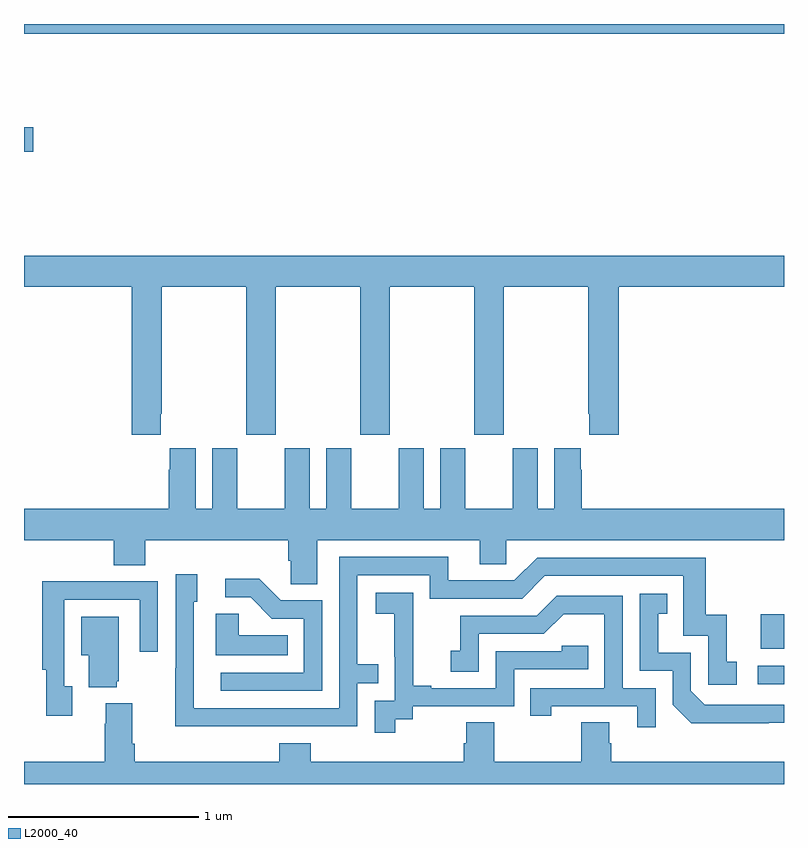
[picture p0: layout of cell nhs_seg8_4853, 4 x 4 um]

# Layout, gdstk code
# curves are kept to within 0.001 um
import gdstk
lib = gdstk.Library(unit=1e-6, precision=1e-09)
def R(c, l, rs):  # rectangles x0, y0, x1, y1
    for r in rs: c.add(gdstk.rectangle(r[:2], r[2:], *l))
def P(c, l, *ps):  # polygons
    for p in ps: c.add(gdstk.Polygon(p, *l))
L2000_40 = (2000, 40)

nhs_seg8_4853 = lib.new_cell('nhs_seg8_4853')
R(nhs_seg8_4853, L2000_40, [(408.861,1098.426,409,1098.522), (408.878,1098.611,409,1098.793), (405,1101.227,405.049,1101.357), (405,1101.848,409,1101.9)])
P(nhs_seg8_4853, L2000_40, [(405,1100.516),(405.566,1100.516),(405.566,1099.737),(405.721,1099.737),(405.721,1099.849),(405.726,1099.849),(405.726,1100.516),(406.171,1100.516),(406.171,1099.737),(406.326,1099.737),(406.326,1100.516),(406.771,1100.516),(406.771,1099.737),(406.926,1099.737),(406.926,1100.516),(407.371,1100.516),(407.371,1099.737),(407.526,1099.737),(407.526,1100.516),(407.971,1100.516),(407.971,1099.849),(407.975,1099.849),(407.975,1099.737),(408.131,1099.737),(408.131,1100.516),(409,1100.516),(409,1100.68),(405,1100.68)],
  [(406.373,1099.666),(406.373,1099.348),(406.123,1099.348),(406.123,1099.666),(405.992,1099.666),(405.992,1099.348),(405.904,1099.348),(405.904,1099.666),(405.767,1099.666),(405.767,1099.553),(405.761,1099.553),(405.761,1099.348),(405,1099.348),(405,1099.184),(405.473,1099.184),(405.473,1099.051),(405.638,1099.051),(405.638,1099.184),(406.391,1099.184),(406.391,1099.075),(406.404,1099.075),(406.404,1098.952),(406.543,1098.952),(406.543,1099.184),(407.399,1099.184),(407.399,1099.057),(407.538,1099.057),(407.538,1099.184),(409,1099.184),(409,1099.348),(407.936,1099.348),(407.936,1099.553),(407.929,1099.553),(407.929,1099.666),(407.792,1099.666),(407.792,1099.348),(407.704,1099.348),(407.704,1099.666),(407.573,1099.666),(407.573,1099.348),(407.323,1099.348),(407.323,1099.666),(407.192,1099.666),(407.192,1099.348),(407.104,1099.348),(407.104,1099.666),(406.973,1099.666),(406.973,1099.348),(406.723,1099.348),(406.723,1099.666),(406.592,1099.666),(406.592,1099.348),(406.504,1099.348),(406.504,1099.666)],
  [(406.259,1098.204),(406.755,1098.204),(406.755,1098.429),(406.865,1098.429),(406.865,1098.53),(406.755,1098.53),(406.755,1098.999),(407.136,1098.999),(407.136,1098.876),(407.622,1098.876),(407.742,1098.996),(408.471,1098.996),(408.471,1098.681),(408.6,1098.681),(408.6,1098.423),(408.751,1098.423),(408.751,1098.543),(408.698,1098.543),(408.698,1098.79),(408.587,1098.79),(408.587,1099.092),(407.7,1099.092),(407.58,1098.972),(407.233,1098.972),(407.233,1099.095),(406.659,1099.095),(406.659,1098.3),(405.894,1098.3),(405.894,1098.858),(405.913,1098.858),(405.913,1099.003),(405.798,1099.003),(405.798,1098.509),(405.796,1098.509),(405.796,1098.203)],
  [(406.569,1098.867),(406.35,1098.867),(406.237,1098.98),(406.059,1098.98),(406.059,1098.882),(406.193,1098.882),(406.304,1098.771),(406.473,1098.771),(406.473,1098.486),(406.035,1098.486),(406.035,1098.39),(406.569,1098.39)],
  [(405.253,1098.414),(405.213,1098.414),(405.213,1098.87),(405.609,1098.87),(405.609,1098.597),(405.705,1098.597),(405.705,1098.966),(405.389,1098.966),(405.389,1098.968),(405.097,1098.968),(405.097,1098.502),(405.116,1098.502),(405.116,1098.258),(405.253,1098.258)],
  [(406.954,1098.241),(407.046,1098.241),(407.046,1098.309),(407.58,1098.309),(407.58,1098.504),(407.969,1098.504),(407.969,1098.627),(407.829,1098.627),(407.829,1098.6),(407.484,1098.6),(407.484,1098.405),(407.143,1098.405),(407.143,1098.418),(407.048,1098.418),(407.048,1098.701),(407.049,1098.701),(407.049,1098.907),(406.851,1098.907),(406.851,1098.797),(406.949,1098.797),(406.949,1098.569),(406.95,1098.569),(406.95,1098.339),(406.845,1098.339),(406.845,1098.171),(406.954,1098.171)],
  [(408.92,1098.222),(409,1098.222),(409,1098.318),(408.582,1098.318),(408.51,1098.39),(408.51,1098.591),(408.337,1098.591),(408.337,1098.795),(408.386,1098.795),(408.386,1098.901),(408.24,1098.901),(408.24,1098.495),(408.414,1098.495),(408.414,1098.318),(408.512,1098.221)],
  [(408.324,1098.405),(408.15,1098.405),(408.15,1098.891),(407.804,1098.891),(407.699,1098.786),(407.296,1098.786),(407.296,1098.601),(407.247,1098.601),(407.247,1098.492),(407.394,1098.492),(407.394,1098.69),(407.736,1098.69),(407.84,1098.794),(408.054,1098.794),(408.054,1098.405),(407.665,1098.405),(407.665,1098.258),(407.776,1098.258),(407.776,1098.309),(408.227,1098.309),(408.227,1098.198),(408.324,1098.198)],
  [(406.388,1098.682),(406.131,1098.682),(406.131,1098.797),(406.01,1098.797),(406.01,1098.578),(406.388,1098.578)],
  [(405.488,1098.441),(405.499,1098.441),(405.499,1098.781),(405.302,1098.781),(405.302,1098.578),(405.341,1098.578),(405.341,1098.41),(405.488,1098.41)],
  [(409,1098.016),(408.092,1098.016),(408.092,1098.114),(408.079,1098.114),(408.079,1098.224),(407.932,1098.224),(407.932,1098.016),(407.475,1098.016),(407.475,1098.224),(407.327,1098.224),(407.327,1098.114),(407.315,1098.114),(407.315,1098.016),(406.508,1098.016),(406.508,1098.115),(406.343,1098.115),(406.343,1098.016),(405.584,1098.016),(405.584,1098.112),(405.571,1098.112),(405.571,1098.325),(405.431,1098.325),(405.431,1098.218),(405.424,1098.218),(405.424,1098.016),(405,1098.016),(405,1097.9),(409,1097.9)])

lib.write_gds('nhs_seg8_4853.gds')
